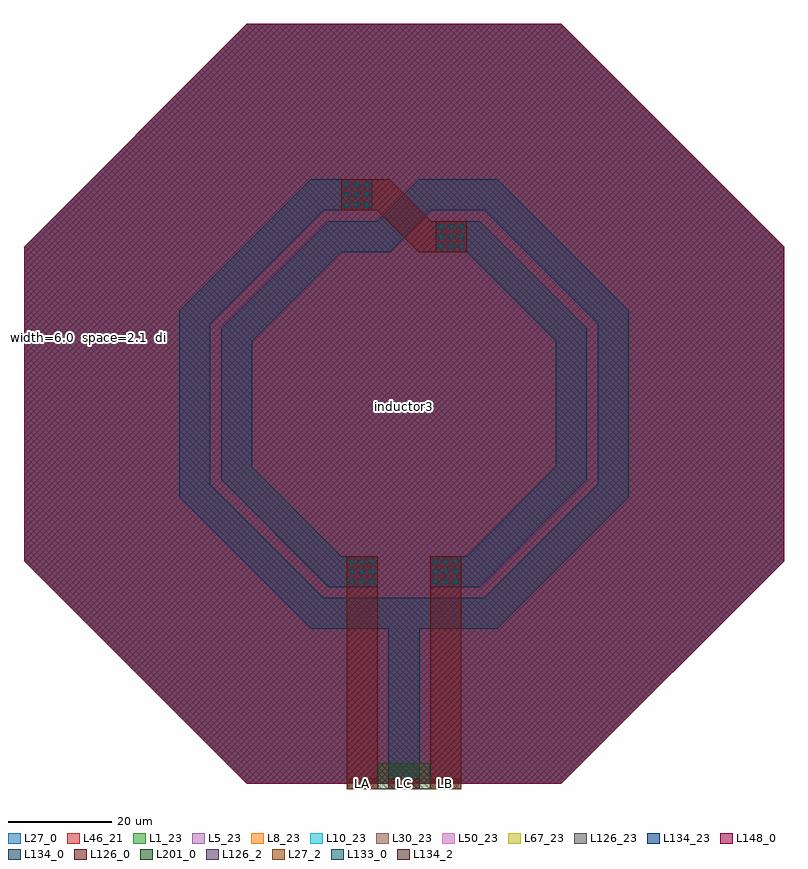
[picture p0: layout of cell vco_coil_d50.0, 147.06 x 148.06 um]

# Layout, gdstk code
import gdstk
lib = gdstk.Library(unit=1e-6, precision=1e-09)
def R(c, l, rs):  # rectangles x0, y0, x1, y1
    for r in rs: c.add(gdstk.rectangle(r[:2], r[2:], *l))
def A(c, l, x, y, w, h, nx, ny, dx, dy):  # array of equal rectangles
    R(c, l, [(x+i*dx, y+j*dy, x+i*dx+w, y+j*dy+h) for i in range(nx) for j in range(ny)])
def P(c, l, *ps):  # polygons
    for p in ps: c.add(gdstk.Polygon(p, *l))
L1_23 = (1, 23)
L5_23 = (5, 23)
L8_23 = (8, 23)
L10_23 = (10, 23)
L27_0 = (27, 0)
L27_2 = (27, 2)
L30_23 = (30, 23)
L46_21 = (46, 21)
L50_23 = (50, 23)
L67_23 = (67, 23)
L126_0 = (126, 0)
L126_2 = (126, 2)
L126_23 = (126, 23)
L133_0 = (133, 0)
L134_0 = (134, 0)
L134_2 = (134, 2)
L134_23 = (134, 23)
L148_0 = (148, 0)
L201_0 = (201, 0)

vco_coil_d50_0 = lib.new_cell('vco_coil_d50.0')
P(vco_coil_d50_0, L1_23, [(-30.455,0),(-73.53,43.075),(-73.53,103.985),(-30.455,147.06),(30.455,147.06),(73.53,103.985),(73.53,43.075),(30.455,0)])
P(vco_coil_d50_0, L5_23, [(-30.455,0),(-73.53,43.075),(-73.53,103.985),(-30.455,147.06),(30.455,147.06),(73.53,103.985),(73.53,43.075),(30.455,0)])
P(vco_coil_d50_0, L8_23, [(-30.455,0),(-73.53,43.075),(-73.53,103.985),(-30.455,147.06),(30.455,147.06),(73.53,103.985),(73.53,43.075),(30.455,0)])
P(vco_coil_d50_0, L10_23, [(-30.455,0),(-73.53,43.075),(-73.53,103.985),(-30.455,147.06),(30.455,147.06),(73.53,103.985),(73.53,43.075),(30.455,0)])
P(vco_coil_d50_0, L27_0, [(-30.455,0),(-73.53,43.075),(-73.53,103.985),(-30.455,147.06),(30.455,147.06),(73.53,103.985),(73.53,43.075),(30.455,0)])
A(vco_coil_d50_0, L27_2, -11.1, -1, 6, 2, 3, 1, 8.1, 0)
P(vco_coil_d50_0, L30_23, [(-30.455,0),(-73.53,43.075),(-73.53,103.985),(-30.455,147.06),(30.455,147.06),(73.53,103.985),(73.53,43.075),(30.455,0)])
P(vco_coil_d50_0, L46_21, [(-30.455,0),(-73.53,43.075),(-73.53,103.985),(-30.455,147.06),(30.455,147.06),(73.53,103.985),(73.53,43.075),(30.455,0)])
P(vco_coil_d50_0, L50_23, [(-30.455,0),(-73.53,43.075),(-73.53,103.985),(-30.455,147.06),(30.455,147.06),(73.53,103.985),(73.53,43.075),(30.455,0)])
P(vco_coil_d50_0, L67_23, [(-30.455,0),(-73.53,43.075),(-73.53,103.985),(-30.455,147.06),(30.455,147.06),(73.53,103.985),(73.53,43.075),(30.455,0)])
P(vco_coil_d50_0, L126_0, [(2.83,102.92),(-5.29,111.04),(-12.18,111.04),(-12.18,117.04),(-2.83,117.04),(5.29,108.92),(12.18,108.92),(12.18,102.92)])
R(vco_coil_d50_0, L126_2, [(-11.1,-1,-5.1,1), (-11.1,-1,-5.1,1), (5.1,-1,11.1,1), (5.1,-1,11.1,1)])
P(vco_coil_d50_0, L126_23, [(-30.455,0),(-73.53,43.075),(-73.53,103.985),(-30.455,147.06),(30.455,147.06),(73.53,103.985),(73.53,43.075),(30.455,0)])
A(vco_coil_d50_0, L133_0, -10.51, 38.69, 0.9, 0.9, 3, 3, 1.96, 1.96)
A(vco_coil_d50_0, L133_0, 5.69, 38.69, 0.9, 0.9, 3, 3, 1.96, 1.96)
A(vco_coil_d50_0, L133_0, 6.77, 103.51, 0.9, 0.9, 3, 3, 1.96, 1.96)
A(vco_coil_d50_0, L133_0, -11.59, 111.61, 0.9, 0.9, 3, 3, 1.96, 1.96)
R(vco_coil_d50_0, L134_0, [(-6.18,30,6.18,36)])
P(vco_coil_d50_0, L134_0, [(5.1,38.1),(5.1,44.1),(12.18,44.1),(29.41,61.33),(29.41,85.69),(12.18,102.92),(6.18,102.92),(6.18,108.92),(14.675,108.92),(35.41,88.185),(35.41,58.835),(14.675,38.1)],
  [(-14.675,38.1),(-35.41,58.835),(-35.41,88.185),(-14.675,108.92),(-6.18,108.92),(-6.18,102.92),(-12.18,102.92),(-29.41,85.69),(-29.41,61.33),(-12.18,44.1),(-5.1,44.1),(-5.1,38.1)],
  [(-6.18,102.92),(-6.18,108.92),(-5.29,108.92),(2.83,117.04),(6.18,117.04),(6.18,111.04),(5.32,111.04),(-2.8,102.92)],
  [(6.18,30),(6.18,36),(15.54,36),(37.52,57.98),(37.52,89.06),(15.54,111.04),(6.18,111.04),(6.18,117.04),(18.035,117.04),(43.52,91.555),(43.52,55.485),(18.035,30)],
  [(-18.035,30),(-43.52,55.485),(-43.52,91.555),(-18.035,117.04),(-6.18,117.04),(-6.18,111.04),(-15.54,111.04),(-37.52,89.06),(-37.52,57.98),(-15.54,36),(-6.18,36),(-6.18,30)])
R(vco_coil_d50_0, L134_2, [(-3,-1,3,1), (-3,-1,3,1)])
P(vco_coil_d50_0, L134_23, [(-30.455,0),(-73.53,43.075),(-73.53,103.985),(-30.455,147.06),(30.455,147.06),(73.53,103.985),(73.53,43.075),(30.455,0)])
P(vco_coil_d50_0, L148_0, [(-30.455,0),(-73.53,43.075),(-73.53,103.985),(-30.455,147.06),(30.455,147.06),(73.53,103.985),(73.53,43.075),(30.455,0)])
R(vco_coil_d50_0, L201_0, [(-5.1,-1,5.1,4)])
vco_coil_d50_0.add(gdstk.FlexPath([(0,-1),(0,30)], 6, ends="flush", simple_path=True, layer=134, datatype=0))  # L134_0
vco_coil_d50_0.add(gdstk.FlexPath([(8.1,-1),(8.1,44.1)], 6, ends="flush", simple_path=True, layer=126, datatype=0))  # L126_0
vco_coil_d50_0.add(gdstk.FlexPath([(-8.1,-1),(-8.1,44.1)], 6, ends="flush", simple_path=True, layer=126, datatype=0))  # L126_0
vco_coil_d50_0.add(gdstk.Label('LC', (0,0), layer=27, texttype=25))
vco_coil_d50_0.add(gdstk.Label('LB', (8.1,0), layer=27, texttype=25))
vco_coil_d50_0.add(gdstk.Label('LA', (-8.1,0), layer=27, texttype=25))
vco_coil_d50_0.add(gdstk.Label('inductor3', (0,73.065), layer=63, texttype=0))
vco_coil_d50_0.add(gdstk.Label('  width=6.0\n  space=2.1\n  diameter=50.00\n  turns=2', (-73.53,86.383), layer=63, texttype=0))

lib.write_gds('vco_coil_d50.0.gds')
